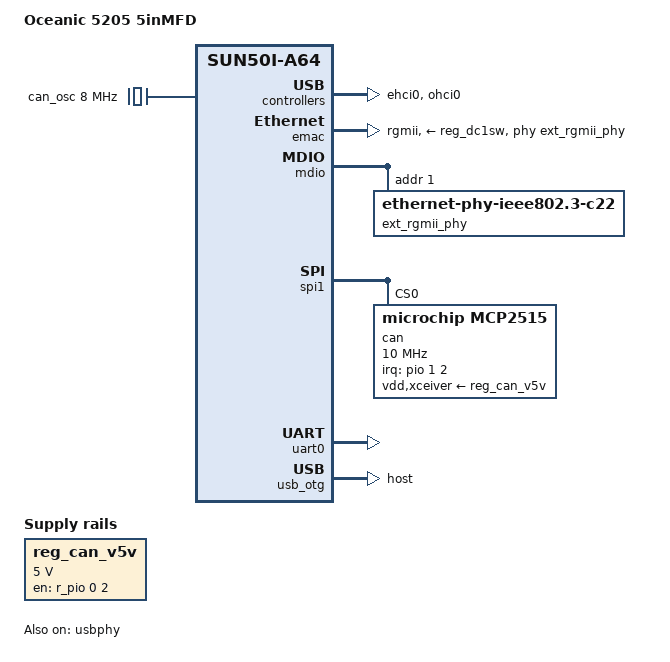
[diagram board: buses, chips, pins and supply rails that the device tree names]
// SPDX-License-Identifier: (GPL-2.0+ OR MIT)
/*
 * Copyright (C) 2019 Oceanic Systems (UK) Ltd.
 * Copyright (C) 2019 Amarula Solutions B.V.
 * Author: Jagan Teki <jagan@amarulasolutions.com>
 */

/dts-v1/;

#include "sun50i-a64-sopine.dtsi"

/ {
	model = "Oceanic 5205 5inMFD";
	compatible = "oceanic,5205-5inmfd", "allwinner,sun50i-a64";

	aliases {
		ethernet0 = &emac;
		serial0 = &uart0;
	};

	chosen {
		stdout-path = "serial0:115200n8";
	};

	can_osc: can-osc {
		compatible = "fixed-clock";
		#clock-cells = <0>;
		clock-frequency = <8000000>;
	};

	reg_can_v5v: reg-can-v5v {
		compatible = "regulator-fixed";
		regulator-name = "reg-can-v5v";
		regulator-min-microvolt = <5000000>;
		regulator-max-microvolt = <5000000>;
		regulator-boot-on;
		enable-active-high;
		gpio = <&r_pio 0 2 GPIO_ACTIVE_HIGH>; /* CAN_3V3_EN: PL2 */
		status = "okay";
	};
};

&ehci0 {
	status = "okay";
};

&emac {
	pinctrl-names = "default";
	pinctrl-0 = <&rgmii_pins>;
	phy-mode = "rgmii";
	phy-handle = <&ext_rgmii_phy>;
	phy-supply = <&reg_dc1sw>;
	allwinner,tx-delay-ps = <600>;
	status = "okay";
};

&mdio {
	ext_rgmii_phy: ethernet-phy@1 {
		compatible = "ethernet-phy-ieee802.3-c22";
		reg = <1>;
	};
};

&ohci0 {
	status = "okay";
};

&reg_dc1sw {
	regulator-name = "vcc-phy";
};

&pio {
	can_pins: can-pins {
		pins = "PD6",			/* RX_BUF1_CAN0 */
		       "PD7";			/* RX_BUF0_CAN0 */
		function = "gpio_out";
	};
};

&spi1 {
	status = "okay";

	can@0 {
		compatible = "microchip,mcp2515";
		reg = <0>;
		spi-max-frequency = <10000000>;
		pinctrl-names = "default";
		pinctrl-0 = <&can_pins>;
		interrupt-parent = <&pio>;
		interrupts = <1 2 IRQ_TYPE_EDGE_FALLING>;	/* INT_CAN0: PB2 */
		clocks = <&can_osc>;
		vdd-supply = <&reg_can_v5v>;
		xceiver-supply = <&reg_can_v5v>;
	};
};

&uart0 {
	pinctrl-names = "default";
	pinctrl-0 = <&uart0_pb_pins>;
	status = "okay";
};

&usb_otg {
	dr_mode = "host";
	status = "okay";
};

&usbphy {
	status = "okay";
};
